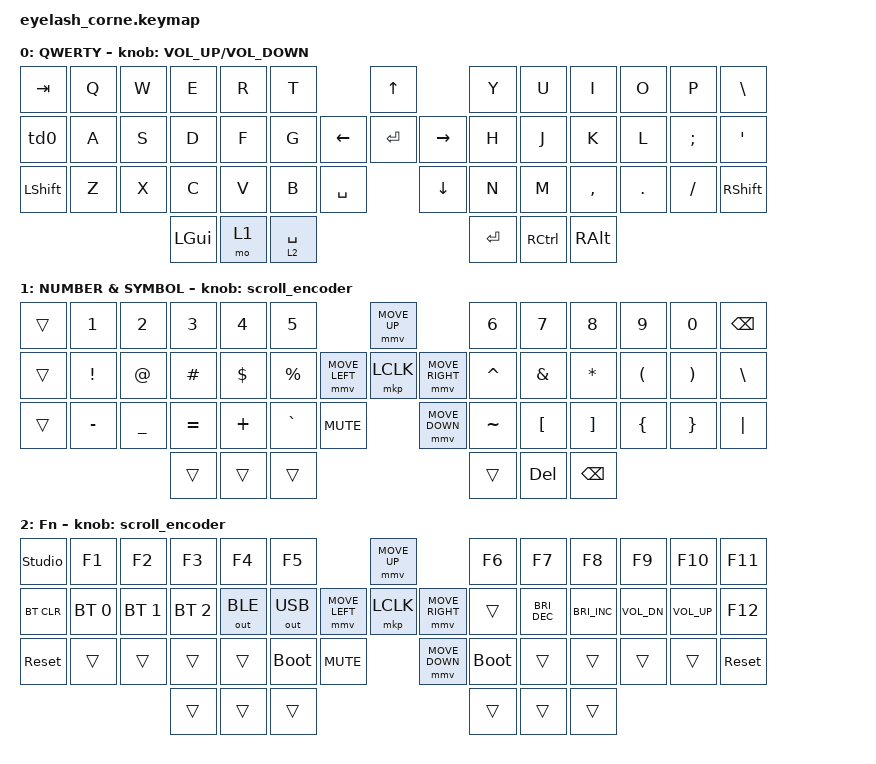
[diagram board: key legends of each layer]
#define ZMK_POINTING_DEFAULT_MOVE_VAL 1200  // 600
#define ZMK_POINTING_DEFAULT_SCRL_VAL 25   // 10

#include <input/processors.dtsi>
#include <zephyr/dt-bindings/input/input-event-codes.h>
#include <behaviors.dtsi>
#include <dt-bindings/zmk/bt.h>
#include <dt-bindings/zmk/keys.h>
#include <dt-bindings/zmk/outputs.h>
#include <dt-bindings/zmk/pointing.h>
#include <dt-bindings/zmk/rgb.h>

&mmv_input_listener { input-processors = <&zip_xy_scaler 2 1>; };

&msc_input_listener { input-processors = <&zip_scroll_scaler 2 1>; };

&msc {
    acceleration-exponent = <1>;      // 0
    time-to-max-speed-ms = <100>;       // 300
    delay-ms = <0>;                   // 0
};

&mmv {
    time-to-max-speed-ms = <500>;
    acceleration-exponent = <1>;
    trigger-period-ms = <16>;
};

/ {
    behaviors {
        td0: td0 {
            compatible = "zmk,behavior-tap-dance";
            display-name = "Shift/Caps Lock Tap Dance";
            #binding-cells = <0>;
            bindings = <&kp LCTRL>, <&kp ESC>;
        };
    };

    rgb_encoder: rgb_encoder {
        compatible = "zmk,behavior-sensor-rotate";
        #sensor-binding-cells = <0>;
        bindings = <&rgb_ug RGB_BRI>, <&rgb_ug RGB_BRD>;
    };

    scroll_encoder: scroll_encoder {
        compatible = "zmk,behavior-sensor-rotate";
        #sensor-binding-cells = <0>;
        bindings = <&msc SCRL_DOWN>, <&msc SCRL_UP>;

        tap-ms = <100>;
    };

    keymap {
        compatible = "zmk,keymap";

        default_layer {
            display-name = "QWERTY";
            bindings = <
&kp TAB     &kp Q  &kp W  &kp E     &kp R  &kp T                               &kp UP                &kp Y      &kp U      &kp I      &kp O    &kp P     &kp BACKSLASH
&td0        &kp A  &kp S  &kp D     &kp F  &kp G                     &kp LEFT  &kp ENTER  &kp RIGHT  &kp H      &kp J      &kp K      &kp L    &kp SEMI  &kp SQT
&kp LSHIFT  &kp Z  &kp X  &kp C     &kp V  &kp B        &kp SPACE              &kp DOWN              &kp N      &kp M      &kp COMMA  &kp DOT  &kp FSLH  &kp RSHIFT
                          &kp LGUI  &mo 1  &lt 2 SPACE                                               &kp ENTER  &kp RCTRL  &kp RALT
            >;

            sensor-bindings = <&inc_dec_kp C_VOLUME_UP C_VOLUME_DOWN>;
        };

        lower_layer {
            display-name = "NUMBER & SYMBOL";
            bindings = <
&trans  &kp N1     &kp N2     &kp N3     &kp N4    &kp N5                                   &mmv MOVE_UP                     &kp N6     &kp N7    &kp N8         &kp N9    &kp N0    &kp BSPC
&trans  &kp EXCL   &kp AT     &kp HASH   &kp DLLR  &kp PRCNT                &mmv MOVE_LEFT  &mkp LCLK       &mmv MOVE_RIGHT  &kp CARET  &kp AMPS  &kp STAR       &kp LPAR  &kp RPAR  &kp BACKSLASH
&trans  &kp MINUS  &kp UNDER  &kp EQUAL  &kp PLUS  &kp GRAVE  &kp C_MUTE                    &mmv MOVE_DOWN                   &kp TILDE  &kp LBKT  &kp RBKT       &kp LBRC  &kp RBRC  &kp PIPE
                              &trans     &trans    &trans                                                                    &trans     &kp DEL   &kp BACKSPACE
            >;

            sensor-bindings = <&scroll_encoder>;
        };

        layer_2 {
            display-name = "Fn";
            bindings = <
&studio_unlock  &kp F1        &kp F2        &kp F3        &kp F4        &kp F5                                      &mmv MOVE_UP                     &kp F6       &kp F7         &kp F8         &kp F9        &kp F10       &kp F11
&bt BT_CLR      &bt BT_SEL 0  &bt BT_SEL 1  &bt BT_SEL 2  &out OUT_BLE  &out OUT_USB                &mmv MOVE_LEFT  &mkp LCLK       &mmv MOVE_RIGHT  &trans       &kp C_BRI_DEC  &kp C_BRI_INC  &kp C_VOL_DN  &kp C_VOL_UP  &kp F12
&sys_reset      &trans        &trans        &trans        &trans        &bootloader   &kp C_MUTE                    &mmv MOVE_DOWN                   &bootloader  &trans         &trans         &trans        &trans        &sys_reset
                                            &trans        &trans        &trans                                                                       &trans       &trans         &trans
            >;

            sensor-bindings = <&scroll_encoder>;
        };
    };
};
